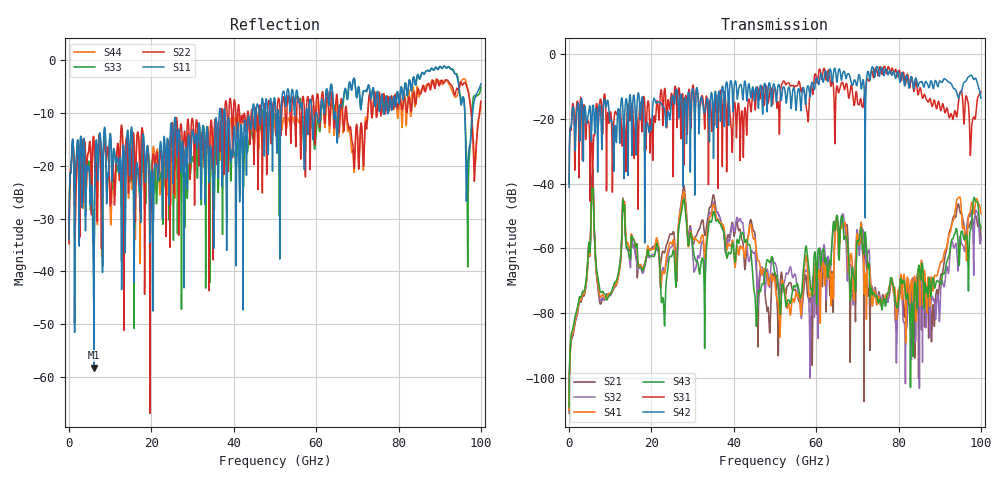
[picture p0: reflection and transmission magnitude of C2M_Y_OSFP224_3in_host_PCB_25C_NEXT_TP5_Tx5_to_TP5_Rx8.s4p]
# GHz S RI R 45
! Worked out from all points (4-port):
!   4000 points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, 25 MHz to 100 GHz, reference 45 ohm
!   strongest paths, dB at 25 MHz, 25.02 GHz, 50.02 GHz, 75.03 GHz, 100 GHz:
!     S42: -41.1, -13.2, -10.7, -4.4, -13.7
!     S31: -40.1, -12.9, -10.6, -6.6, -11.6
!     S43: -109.0, -62.1, -68.1, -76.6, -53.8
!     S41: -110.0, -58.6, -71.2, -75.3, -49.2
!     S32: -110.0, -59.3, -64.5, -75.1, -56.7
!     S21: -111.0, -55.7, -67.6, -75.2, -57.5
!   lowest |S11| = -58.2 dB at 6.05 GHz (marker M1), VSWR 1.00, Z = 44.9 + j0.0964 ohm
!   |S11| at or under -10 dB: start of sweep to 36.5 GHz; 37.88 GHz to 44.5 GHz (6.618 GHz wide, 16.1 % of centre); 96.08 GHz to 98 GHz (1.926 GHz wide, 1.98 % of centre)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
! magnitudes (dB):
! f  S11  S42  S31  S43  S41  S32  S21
! 25 MHz  -34.0  -41.1  -40.1  -109.0  -110.0  -110.0  -111.0
! 6.05 GHz  -58.2  -17.9  -24.9  -51.0  -51.3  -51.1  -51.4
! 7.775 GHz  -15.8  -20.8  -14.3  -73.7  -75.2  -76.2  -77.0
! 22.9 GHz  -17.3  -16.2  -17.8  -76.0  -67.3  -66.1  -61.0
! 27.75 GHz  -18.9  -25.1  -14.9  -45.1  -42.9  -43.3  -41.1
! 53.45 GHz  -6.8  -10.3  -9.1  -76.1  -77.8  -66.8  -70.7
! 100 GHz  -4.5  -13.7  -11.6  -53.8  -49.2  -56.7  -57.5
